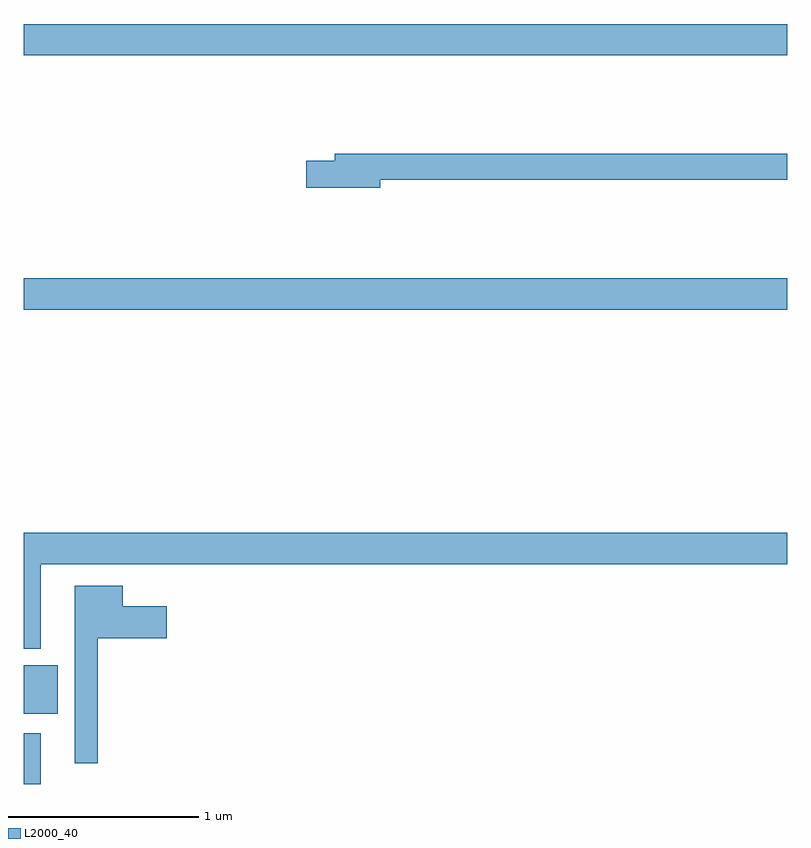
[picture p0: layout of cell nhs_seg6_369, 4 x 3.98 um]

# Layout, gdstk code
import gdstk
lib = gdstk.Library(unit=1e-6, precision=1e-09)
def R(c, l, rs):  # rectangles x0, y0, x1, y1
    for r in rs: c.add(gdstk.rectangle(r[:2], r[2:], *l))
def P(c, l, *ps):  # polygons
    for p in ps: c.add(gdstk.Polygon(p, *l))
L2000_40 = (2000, 40)

nhs_seg6_369 = lib.new_cell('nhs_seg6_369')
R(nhs_seg6_369, L2000_40, [(131,963.5,131.089,963.766), (131,963.869,131.179,964.123), (131,965.984,135,966.148), (131,967.316,135,967.48)])
P(nhs_seg6_369, L2000_40, [(132.868,966.664),(135,966.664),(135,966.8),(132.629,966.8),(132.629,966.764),(132.48,966.764),(132.48,966.622),(132.868,966.622)],
  [(131.089,964.652),(135,964.652),(135,964.816),(131,964.816),(131,964.208),(131.089,964.208)],
  [(131.389,964.262),(131.749,964.262),(131.749,964.432),(131.518,964.432),(131.518,964.537),(131.267,964.537),(131.267,963.609),(131.389,963.609)])

lib.write_gds('nhs_seg6_369.gds')
